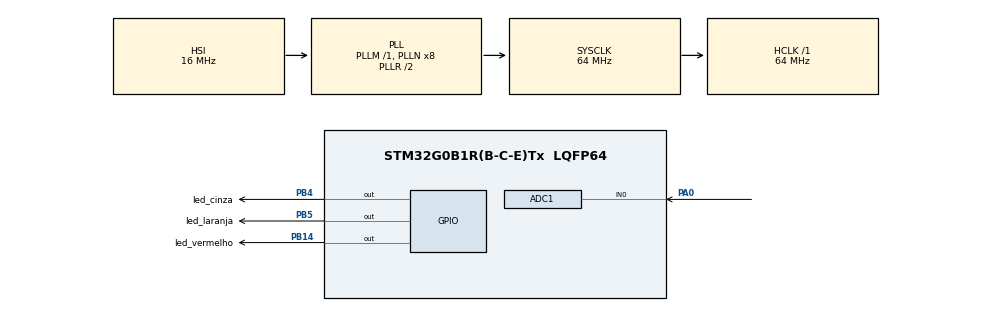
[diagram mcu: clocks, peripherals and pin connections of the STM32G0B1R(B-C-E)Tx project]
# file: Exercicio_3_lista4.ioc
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ADC1.Channel-0\#ChannelRegularConversion=ADC_CHANNEL_0
ADC1.ContinuousConvMode=DISABLE
ADC1.DMAContinuousRequests=DISABLE
ADC1.DiscontinuousConvMode=DISABLE
ADC1.NbrOfConversionFlag=1
ADC1.Rank-0\#ChannelRegularConversion=1
ADC1.SamplingTime-0\#ChannelRegularConversion=ADC_SAMPLINGTIME_COMMON_1
ADC1.SamplingTimeCommon1=ADC_SAMPLETIME_160CYCLES_5
ADC1.SamplingTimeCommon2=ADC_SAMPLETIME_160CYCLES_5
ADC1.SelectedChannel=ADC_CHANNEL_0
ADC1.TriggerFrequencyMode=ADC_TRIGGER_FREQ_LOW
ADC1.master=1
Mcu.Family=STM32G0
Mcu.Name=STM32G0B1R(B-C-E)Tx
Mcu.Package=LQFP64
PA0.Mode=IN0
PA0.Signal=ADC1_IN0
PA13.Mode=Serial_Wire
PA13.Signal=SYS_SWDIO
PA14-BOOT0.Mode=Serial_Wire
PA14-BOOT0.Signal=SYS_SWCLK
PB14.GPIO_Label=led_vermelho
PB14.GPIO_Speed=GPIO_SPEED_FREQ_VERY_HIGH
PB14.PinState=GPIO_PIN_SET
PB14.Signal=GPIO_Output
PB4.GPIO_Label=led_cinza
PB4.GPIO_Speed=GPIO_SPEED_FREQ_VERY_HIGH
PB4.PinState=GPIO_PIN_SET
PB4.Signal=GPIO_Output
PB5.GPIO_Label=led_laranja
PB5.GPIO_Speed=GPIO_SPEED_FREQ_VERY_HIGH
PB5.PinState=GPIO_PIN_SET
PB5.Signal=GPIO_Output
ProjectManager.HeapSize=0x200
ProjectManager.StackSize=0x400
ProjectManager.TargetToolchain=STM32CubeIDE
RCC.ADCFreq_Value=64000000
RCC.AHBFreq_Value=64000000
RCC.CortexFreq_Value=64000000
RCC.EXTERNAL_CLOCK_VALUE=48000
RCC.HCLKFreq_Value=64000000
RCC.HSE_VALUE=8000000
RCC.HSI48_VALUE=48000000
RCC.HSI_VALUE=16000000
RCC.LSE_VALUE=32768
RCC.SYSCLKFreq_VALUE=64000000
RCC.SYSCLKSource=RCC_SYSCLKSOURCE_PLLCLK
RCC.USBFreq_Value=48000000
RCC.VCOOutputFreq_Value=128000000
VP_SYS_VS_DBSignals.Mode=DisableDeadBatterySignals
board=custom

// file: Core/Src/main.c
/* USER CODE BEGIN Header */
/**
  ******************************************************************************
  * @file           : main.c
  * @brief          : Main program body
  ******************************************************************************
  * @attention
  *
  * Copyright (c) 2022 STMicroelectronics.
  * All rights reserved.
  *
  * This software is licensed under terms that can be found in the LICENSE file
  * in the root directory of this software component.
  * If no LICENSE file comes with this software, it is provided AS-IS.
  *
  ******************************************************************************
  */
/* USER CODE END Header */
#include "main.h"

/* USER CODE BEGIN Includes */
#include<stdint.h>
/* USER CODE END Includes */

ADC_HandleTypeDef hadc1;

/* USER CODE BEGIN PV */
float tensao;
uint16_t valorEntrada;

/* USER CODE END PV */

void SystemClock_Config(void);
static void MX_GPIO_Init(void);
static void MX_ADC1_Init(void);

int main(void)
{

  /* MCU Configuration--------------------------------------------------------*/

  /* Reset of all peripherals, Initializes the Flash interface and the Systick. */
  HAL_Init();

  /* Configure the system clock */
  SystemClock_Config();

  /* Initialize all configured peripherals */
  MX_GPIO_Init();
  MX_ADC1_Init();

  /* Infinite loop */
  /* USER CODE BEGIN WHILE */
  HAL_ADCEx_Calibration_Start(&hadc1); // calibra ADC
    while (1){
	HAL_ADC_Start(&hadc1);
    	HAL_ADC_PollForConversion(&hadc1, 100);
    	valorEntrada = HAL_ADC_GetValue(&hadc1);
    	tensao = 3.3/4095*valorEntrada;

    		  	  if(tensao <= 1){
    		  		        HAL_GPIO_WritePin(led_laranja_GPIO_Port, led_laranja_Pin, 0);
    		  		        HAL_GPIO_WritePin(led_cinza_GPIO_Port, led_cinza_Pin, 1);
    		  		        HAL_GPIO_WritePin(led_vermelho_GPIO_Port, led_vermelho_Pin, 1);
    		  	  }else if(tensao > 1 && tensao < 3){
    				         HAL_GPIO_WritePin(led_laranja_GPIO_Port, led_laranja_Pin, 1);
    						 HAL_GPIO_WritePin(led_cinza_GPIO_Port, led_cinza_Pin, 0);
    						 HAL_GPIO_WritePin(led_vermelho_GPIO_Port, led_vermelho_Pin, 1);
    		  	}else if(tensao >= 3){
    		  		         HAL_GPIO_WritePin(led_laranja_GPIO_Port, led_laranja_Pin, 1);
    				 	     HAL_GPIO_WritePin(led_cinza_GPIO_Port, led_cinza_Pin, 1);
    						 HAL_GPIO_WritePin(led_vermelho_GPIO_Port, led_vermelho_Pin, 0);

    		  	  }

    /* USER CODE END WHILE */

  }
}

void SystemClock_Config(void)
{
  RCC_OscInitTypeDef RCC_OscInitStruct = {0};
  RCC_ClkInitTypeDef RCC_ClkInitStruct = {0};

  /** Configure the main internal regulator output voltage
  */
  HAL_PWREx_ControlVoltageScaling(PWR_REGULATOR_VOLTAGE_SCALE1);
  /** Initializes the RCC Oscillators according to the specified parameters
  * in the RCC_OscInitTypeDef structure.
  */
  RCC_OscInitStruct.OscillatorType = RCC_OSCILLATORTYPE_HSI;
  RCC_OscInitStruct.HSIState = RCC_HSI_ON;
  RCC_OscInitStruct.HSIDiv = RCC_HSI_DIV1;
  RCC_OscInitStruct.HSICalibrationValue = RCC_HSICALIBRATION_DEFAULT;
  RCC_OscInitStruct.PLL.PLLState = RCC_PLL_ON;
  RCC_OscInitStruct.PLL.PLLSource = RCC_PLLSOURCE_HSI;
  RCC_OscInitStruct.PLL.PLLM = RCC_PLLM_DIV1;
  RCC_OscInitStruct.PLL.PLLN = 8;
  RCC_OscInitStruct.PLL.PLLP = RCC_PLLP_DIV2;
  RCC_OscInitStruct.PLL.PLLQ = RCC_PLLQ_DIV2;
  RCC_OscInitStruct.PLL.PLLR = RCC_PLLR_DIV2;
  if (HAL_RCC_OscConfig(&RCC_OscInitStruct) != HAL_OK)
  {
    Error_Handler();
  }
  /** Initializes the CPU, AHB and APB buses clocks
  */
  RCC_ClkInitStruct.ClockType = RCC_CLOCKTYPE_HCLK|RCC_CLOCKTYPE_SYSCLK
                              |RCC_CLOCKTYPE_PCLK1;
  RCC_ClkInitStruct.SYSCLKSource = RCC_SYSCLKSOURCE_PLLCLK;
  RCC_ClkInitStruct.AHBCLKDivider = RCC_SYSCLK_DIV1;
  RCC_ClkInitStruct.APB1CLKDivider = RCC_HCLK_DIV1;

  if (HAL_RCC_ClockConfig(&RCC_ClkInitStruct, FLASH_LATENCY_2) != HAL_OK)
  {
    Error_Handler();
  }
}

static void MX_ADC1_Init(void)
{

  ADC_ChannelConfTypeDef sConfig = {0};

  /** Configure the global features of the ADC (Clock, Resolution, Data Alignment and number of conversion)
  */
  hadc1.Instance = ADC1;
  hadc1.Init.ClockPrescaler = ADC_CLOCK_SYNC_PCLK_DIV2;
  hadc1.Init.Resolution = ADC_RESOLUTION_12B;
  hadc1.Init.DataAlign = ADC_DATAALIGN_RIGHT;
  hadc1.Init.ScanConvMode = ADC_SCAN_DISABLE;
  hadc1.Init.EOCSelection = ADC_EOC_SINGLE_CONV;
  hadc1.Init.LowPowerAutoWait = DISABLE;
  hadc1.Init.LowPowerAutoPowerOff = DISABLE;
  hadc1.Init.ContinuousConvMode = DISABLE;
  hadc1.Init.NbrOfConversion = 1;
  hadc1.Init.DiscontinuousConvMode = DISABLE;
  hadc1.Init.ExternalTrigConv = ADC_SOFTWARE_START;
  hadc1.Init.ExternalTrigConvEdge = ADC_EXTERNALTRIGCONVEDGE_NONE;
  hadc1.Init.DMAContinuousRequests = DISABLE;
  hadc1.Init.Overrun = ADC_OVR_DATA_PRESERVED;
  hadc1.Init.SamplingTimeCommon1 = ADC_SAMPLETIME_160CYCLES_5;
  hadc1.Init.SamplingTimeCommon2 = ADC_SAMPLETIME_160CYCLES_5;
  hadc1.Init.OversamplingMode = DISABLE;
  hadc1.Init.TriggerFrequencyMode = ADC_TRIGGER_FREQ_LOW;
  if (HAL_ADC_Init(&hadc1) != HAL_OK)
  {
    Error_Handler();
  }
  /** Configure Regular Channel
  */
  sConfig.Channel = ADC_CHANNEL_0;
  sConfig.Rank = ADC_REGULAR_RANK_1;
  sConfig.SamplingTime = ADC_SAMPLINGTIME_COMMON_1;
  if (HAL_ADC_ConfigChannel(&hadc1, &sConfig) != HAL_OK)
  {
    Error_Handler();
  }

}

static void MX_GPIO_Init(void)
{
  GPIO_InitTypeDef GPIO_InitStruct = {0};

  /* GPIO Ports Clock Enable */
  __HAL_RCC_GPIOA_CLK_ENABLE();
  __HAL_RCC_GPIOB_CLK_ENABLE();

  /*Configure GPIO pin Output Level */
  HAL_GPIO_WritePin(GPIOB, led_vermelho_Pin|led_cinza_Pin|led_laranja_Pin, GPIO_PIN_SET);

  /*Configure GPIO pins : led_vermelho_Pin led_cinza_Pin led_laranja_Pin */
  GPIO_InitStruct.Pin = led_vermelho_Pin|led_cinza_Pin|led_laranja_Pin;
  GPIO_InitStruct.Mode = GPIO_MODE_OUTPUT_PP;
  GPIO_InitStruct.Pull = GPIO_NOPULL;
  GPIO_InitStruct.Speed = GPIO_SPEED_FREQ_VERY_HIGH;
  HAL_GPIO_Init(GPIOB, &GPIO_InitStruct);

}

void Error_Handler(void)
{
  __disable_irq();
  while (1)
  {
  }
}
